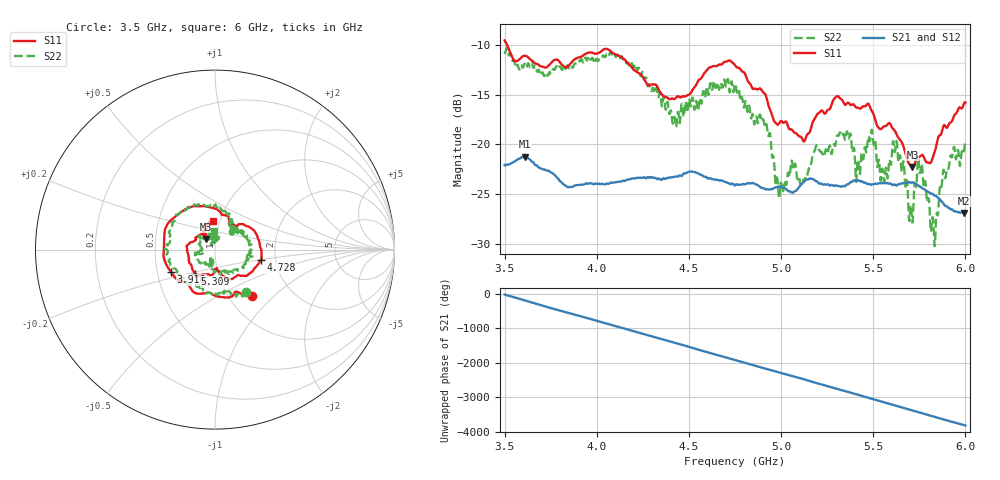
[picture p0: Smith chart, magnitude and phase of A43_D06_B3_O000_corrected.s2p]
! Created with skrf 1.9.0 (http://scikit-rf.org).
# Hz S RI R 50.0
!freq ReS11 ImS11 ReS21 ImS21 ReS12 ImS12 ReS22 ImS22
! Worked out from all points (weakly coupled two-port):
!   1601 points, 3.5 GHz to 6 GHz, reference 50 ohm
!   highest |S21| = -21.23 dB at 3.609 GHz (marker M1); lowest = -26.9 dB at 5.994 GHz (marker M2)
!   lowest |S11| = -22.3 dB at 5.713 GHz (marker M3), VSWR 1.17, Z = 45.1 + j5.43 ohm
!   |S11| at or under -10 dB: 3.512 GHz to end of sweep
!   |S22| runs from -30.2 to -10.4 dB; largest |S21 - S12| = 0.00094
!   S11 on the Smith chart (normalised r, x): 3.5 GHz: 1.27, -0.74; 3.916 GHz: 0.59, -0.16; 4.728 GHz: 1.66, -0.21; 5.309 GHz: 0.77, -0.21; 6 GHz: 0.93, +0.31
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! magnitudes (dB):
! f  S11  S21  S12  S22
! 3.5 GHz  -9.6  -22.1  -22.0  -10.7
! 3.609 GHz  -11.1  -21.2  -21.2  -11.9
! 3.916 GHz  -11.2  -24.0  -24.0  -11.5
! 3.917 GHz  -11.2  -24.0  -24.0  -11.5
! 4.334 GHz  -14.4  -23.4  -23.4  -15.3
! 4.422 GHz  -15.4  -23.2  -23.2  -17.3
! 4.728 GHz  -11.7  -24.0  -23.9  -13.9
! 4.75 GHz  -12.1  -24.1  -24.0  -13.9
! 4.912 GHz  -14.9  -24.5  -24.4  -18.3
! 4.997 GHz  -17.7  -24.2  -24.2  -24.0
! 5.167 GHz  -18.0  -23.5  -23.4  -21.5
! 5.309 GHz  -15.2  -24.2  -24.1  -19.1
! 5.416 GHz  -16.3  -23.6  -23.6  -21.7
! 5.484 GHz  -16.3  -24.0  -24.0  -19.4
! 5.584 GHz  -17.9  -23.9  -23.9  -22.1
! 5.619 GHz  -18.7  -24.0  -24.0  -20.6
! 5.713 GHz  -22.3  -23.8  -23.7  -27.8
! 5.753 GHz  -21.2  -24.2  -24.2  -22.9
! 5.827 GHz  -21.1  -25.0  -25.0  -27.8
! 5.873 GHz  -18.6  -25.8  -25.7  -23.8
! 5.994 GHz  -15.9  -26.9  -26.7  -20.5
! 6 GHz  -15.8  -26.8  -26.8  -19.7
